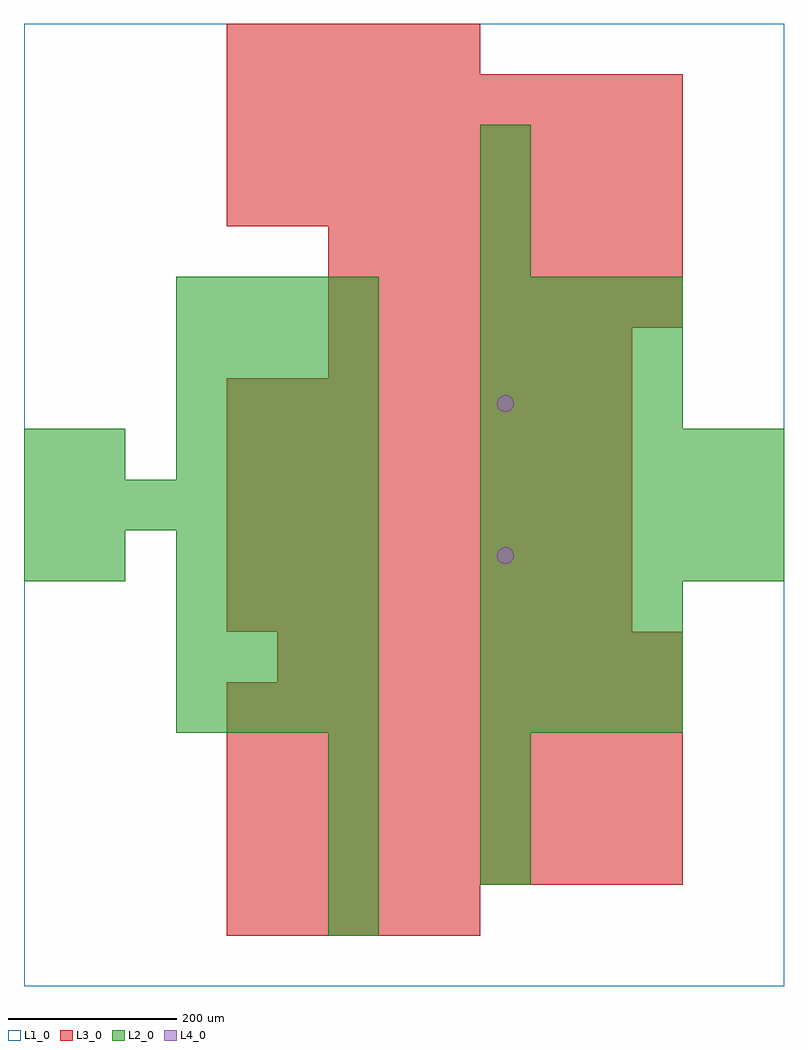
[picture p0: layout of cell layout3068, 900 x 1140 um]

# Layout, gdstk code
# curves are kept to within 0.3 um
import gdstk
lib = gdstk.Library(unit=1e-6, precision=1e-09)
def R(c, l, rs):  # rectangles x0, y0, x1, y1
    for r in rs: c.add(gdstk.rectangle(r[:2], r[2:], *l))
def A(c, l, x, y, w, h, nx, ny, dx, dy):  # array of equal rectangles
    R(c, l, [(x+i*dx, y+j*dy, x+i*dx+w, y+j*dy+h) for i in range(nx) for j in range(ny)])
def P(c, l, *ps):  # polygons
    for p in ps: c.add(gdstk.Polygon(p, *l))
L1_0 = (1, 0)
L2_0 = (2, 0)
L3_0 = (3, 0)
L4_0 = (4, 0)

layout3068 = lib.new_cell('layout3068')
R(layout3068, L1_0, [(0,0,900,1140)])
A(layout3068, L2_0, 360, 60, 60, 60, 1, 4, 0, 60)
A(layout3068, L2_0, 540, 120, 60, 60, 1, 3, 0, 60)
A(layout3068, L2_0, 180, 300, 60, 60, 4, 4, 60, 60)
A(layout3068, L2_0, 540, 300, 60, 60, 4, 3, 60, 60)
A(layout3068, L2_0, 540, 480, 60, 60, 6, 3, 60, 60)
A(layout3068, L2_0, 0, 540, 60, 60, 7, 1, 60, 0)
A(layout3068, L2_0, 180, 600, 60, 60, 4, 4, 60, 60)
A(layout3068, L2_0, 540, 660, 60, 60, 4, 3, 60, 60)
A(layout3068, L2_0, 540, 840, 60, 60, 1, 3, 0, 60)
R(layout3068, L2_0, [(0,480,60,540), (60,480,120,540), (0,600,60,660), (60,600,120,660)])
A(layout3068, L3_0, 240, 60, 60, 60, 5, 2, 60, 1020)
A(layout3068, L3_0, 240, 120, 60, 60, 9, 4, 60, 60)
A(layout3068, L3_0, 300, 360, 60, 60, 8, 1, 60, 0)
A(layout3068, L3_0, 240, 420, 60, 60, 8, 5, 60, 60)
A(layout3068, L3_0, 360, 720, 60, 60, 6, 1, 60, 0)
A(layout3068, L3_0, 360, 780, 60, 60, 7, 2, 60, 60)
A(layout3068, L3_0, 240, 900, 60, 60, 9, 3, 60, 60)
P(layout3068, L4_0, [(580,510),(579.239,513.827),(577.071,517.071),(573.827,519.239),(570,520),(566.173,519.239),(562.929,517.071),(560.761,513.827),(560,510),(560.761,506.173),(562.929,502.929),(566.173,500.761),(570,500),(573.827,500.761),(577.071,502.929),(579.239,506.173)],
  [(580,690),(579.239,693.827),(577.071,697.071),(573.827,699.239),(570,700),(566.173,699.239),(562.929,697.071),(560.761,693.827),(560,690),(560.761,686.173),(562.929,682.929),(566.173,680.761),(570,680),(573.827,680.761),(577.071,682.929),(579.239,686.173)])

lib.write_gds('layout3068.gds')
